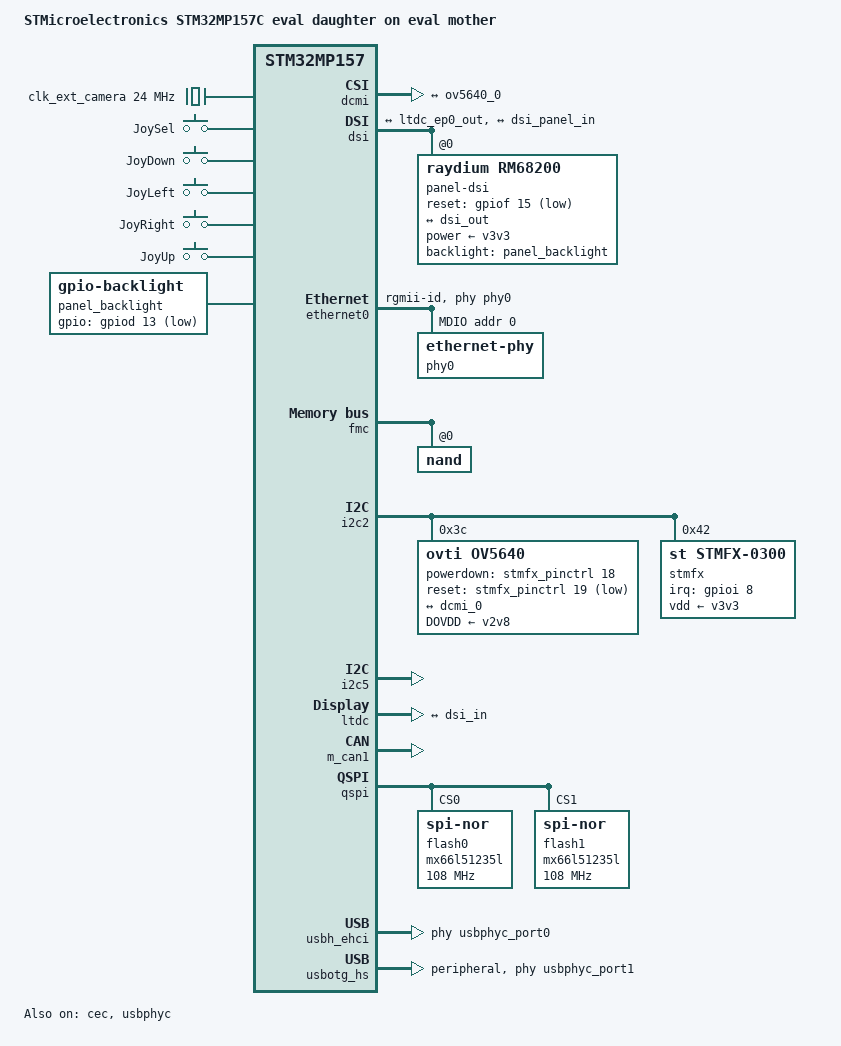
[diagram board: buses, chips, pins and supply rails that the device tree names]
// SPDX-License-Identifier: (GPL-2.0+ OR BSD-3-Clause)
/*
 * Copyright (C) STMicroelectronics 2017 - All Rights Reserved
 * Author: Ludovic Barre <ludovic.barre@st.com> for STMicroelectronics.
 */
/dts-v1/;

#include "stm32mp157c-ed1.dts"
#include <dt-bindings/gpio/gpio.h>
#include <dt-bindings/input/input.h>

/ {
	model = "STMicroelectronics STM32MP157C eval daughter on eval mother";
	compatible = "st,stm32mp157c-ev1", "st,stm32mp157c-ed1", "st,stm32mp157";

	chosen {
		stdout-path = "serial0:115200n8";
	};

	aliases {
		serial0 = &uart4;
		ethernet0 = &ethernet0;
	};

	clocks {
		clk_ext_camera: clk-ext-camera {
			#clock-cells = <0>;
			compatible = "fixed-clock";
			clock-frequency = <24000000>;
		};
	};

	joystick {
		compatible = "gpio-keys";
		pinctrl-0 = <&joystick_pins>;
		pinctrl-names = "default";
		button-0 {
			label = "JoySel";
			linux,code = <KEY_ENTER>;
			interrupt-parent = <&stmfx_pinctrl>;
			interrupts = <0 IRQ_TYPE_EDGE_RISING>;
		};
		button-1 {
			label = "JoyDown";
			linux,code = <KEY_DOWN>;
			interrupt-parent = <&stmfx_pinctrl>;
			interrupts = <1 IRQ_TYPE_EDGE_RISING>;
		};
		button-2 {
			label = "JoyLeft";
			linux,code = <KEY_LEFT>;
			interrupt-parent = <&stmfx_pinctrl>;
			interrupts = <2 IRQ_TYPE_EDGE_RISING>;
		};
		button-3 {
			label = "JoyRight";
			linux,code = <KEY_RIGHT>;
			interrupt-parent = <&stmfx_pinctrl>;
			interrupts = <3 IRQ_TYPE_EDGE_RISING>;
		};
		button-4 {
			label = "JoyUp";
			linux,code = <KEY_UP>;
			interrupt-parent = <&stmfx_pinctrl>;
			interrupts = <4 IRQ_TYPE_EDGE_RISING>;
		};
	};

	panel_backlight: panel-backlight {
		compatible = "gpio-backlight";
		gpios = <&gpiod 13 GPIO_ACTIVE_LOW>;
		default-on;
		status = "okay";
	};
};

&cec {
	pinctrl-names = "default";
	pinctrl-0 = <&cec_pins_a>;
	status = "okay";
};

&dcmi {
	status = "okay";
	pinctrl-names = "default", "sleep";
	pinctrl-0 = <&dcmi_pins_a>;
	pinctrl-1 = <&dcmi_sleep_pins_a>;

	port {
		dcmi_0: endpoint {
			remote-endpoint = <&ov5640_0>;
			bus-width = <8>;
			hsync-active = <0>;
			vsync-active = <0>;
			pclk-sample = <1>;
		};
	};
};

&dsi {
	#address-cells = <1>;
	#size-cells = <0>;
	phy-dsi-supply = <&reg18>;
	status = "okay";

	ports {
		#address-cells = <1>;
		#size-cells = <0>;

		port@0 {
			reg = <0>;
			dsi_in: endpoint {
				remote-endpoint = <&ltdc_ep0_out>;
			};
		};

		port@1 {
			reg = <1>;
			dsi_out: endpoint {
				remote-endpoint = <&dsi_panel_in>;
			};
		};
	};

	panel-dsi@0 {
		compatible = "raydium,rm68200";
		reg = <0>;
		reset-gpios = <&gpiof 15 GPIO_ACTIVE_LOW>;
		backlight = <&panel_backlight>;
		power-supply = <&v3v3>;
		status = "okay";

		port {
			dsi_panel_in: endpoint {
				remote-endpoint = <&dsi_out>;
			};
		};
	};
};

&ethernet0 {
	status = "okay";
	pinctrl-0 = <&ethernet0_rgmii_pins_a>;
	pinctrl-1 = <&ethernet0_rgmii_pins_sleep_a>;
	pinctrl-names = "default", "sleep";
	phy-mode = "rgmii-id";
	max-speed = <1000>;
	phy-handle = <&phy0>;

	mdio0 {
		#address-cells = <1>;
		#size-cells = <0>;
		compatible = "snps,dwmac-mdio";
		phy0: ethernet-phy@0 {
			reg = <0>;
		};
	};
};

&fmc {
	pinctrl-names = "default", "sleep";
	pinctrl-0 = <&fmc_pins_a>;
	pinctrl-1 = <&fmc_sleep_pins_a>;
	status = "okay";
	#address-cells = <1>;
	#size-cells = <0>;

	nand@0 {
		reg = <0>;
		nand-on-flash-bbt;
		#address-cells = <1>;
		#size-cells = <1>;
	};
};

&i2c2 {
	pinctrl-names = "default";
	pinctrl-0 = <&i2c2_pins_a>;
	i2c-scl-rising-time-ns = <185>;
	i2c-scl-falling-time-ns = <20>;
	status = "okay";

	ov5640: camera@3c {
		compatible = "ovti,ov5640";
		reg = <0x3c>;
		clocks = <&clk_ext_camera>;
		clock-names = "xclk";
		DOVDD-supply = <&v2v8>;
		powerdown-gpios = <&stmfx_pinctrl 18 (GPIO_ACTIVE_HIGH | GPIO_PUSH_PULL)>;
		reset-gpios = <&stmfx_pinctrl 19 (GPIO_ACTIVE_LOW | GPIO_PUSH_PULL)>;
		rotation = <180>;
		status = "okay";

		port {
			ov5640_0: endpoint {
				remote-endpoint = <&dcmi_0>;
				bus-width = <8>;
				data-shift = <2>; /* lines 9:2 are used */
				hsync-active = <0>;
				vsync-active = <0>;
				pclk-sample = <1>;
			};
		};
	};

	stmfx: stmfx@42 {
		compatible = "st,stmfx-0300";
		reg = <0x42>;
		interrupts = <8 IRQ_TYPE_EDGE_RISING>;
		interrupt-parent = <&gpioi>;
		vdd-supply = <&v3v3>;

		stmfx_pinctrl: stmfx-pin-controller {
			compatible = "st,stmfx-0300-pinctrl";
			gpio-controller;
			#gpio-cells = <2>;
			interrupt-controller;
			#interrupt-cells = <2>;
			gpio-ranges = <&stmfx_pinctrl 0 0 24>;

			joystick_pins: joystick {
				pins = "gpio0", "gpio1", "gpio2", "gpio3", "gpio4";
				bias-pull-down;
			};
		};
	};
};

&i2c5 {
	pinctrl-names = "default";
	pinctrl-0 = <&i2c5_pins_a>;
	i2c-scl-rising-time-ns = <185>;
	i2c-scl-falling-time-ns = <20>;
	status = "okay";
};

&ltdc {
	status = "okay";

	port {
		#address-cells = <1>;
		#size-cells = <0>;

		ltdc_ep0_out: endpoint@0 {
			reg = <0>;
			remote-endpoint = <&dsi_in>;
		};
	};
};

&m_can1 {
	pinctrl-names = "default", "sleep";
	pinctrl-0 = <&m_can1_pins_a>;
	pinctrl-1 = <&m_can1_sleep_pins_a>;
	status = "okay";
};

&qspi {
	pinctrl-names = "default", "sleep";
	pinctrl-0 = <&qspi_clk_pins_a &qspi_bk1_pins_a &qspi_bk2_pins_a>;
	pinctrl-1 = <&qspi_clk_sleep_pins_a &qspi_bk1_sleep_pins_a &qspi_bk2_sleep_pins_a>;
	reg = <0x58003000 0x1000>, <0x70000000 0x4000000>;
	#address-cells = <1>;
	#size-cells = <0>;
	status = "okay";

	flash0: mx66l51235l@0 {
		compatible = "jedec,spi-nor";
		reg = <0>;
		spi-rx-bus-width = <4>;
		spi-max-frequency = <108000000>;
		#address-cells = <1>;
		#size-cells = <1>;
	};

	flash1: mx66l51235l@1 {
		compatible = "jedec,spi-nor";
		reg = <1>;
		spi-rx-bus-width = <4>;
		spi-max-frequency = <108000000>;
		#address-cells = <1>;
		#size-cells = <1>;
	};
};

&sdmmc3 {
	pinctrl-names = "default", "opendrain", "sleep";
	pinctrl-0 = <&sdmmc3_b4_pins_a>;
	pinctrl-1 = <&sdmmc3_b4_od_pins_a>;
	pinctrl-2 = <&sdmmc3_b4_sleep_pins_a>;
	broken-cd;
	st,neg-edge;
	bus-width = <4>;
	vmmc-supply = <&v3v3>;
	status = "disabled";
};

&spi1 {
	pinctrl-names = "default";
	pinctrl-0 = <&spi1_pins_a>;
	status = "disabled";
};

&timers2 {
	/* spare dmas for other usage (un-delete to enable pwm capture) */
	/delete-property/dmas;
	/delete-property/dma-names;
	status = "disabled";
	pwm {
		pinctrl-0 = <&pwm2_pins_a>;
		pinctrl-1 = <&pwm2_sleep_pins_a>;
		pinctrl-names = "default", "sleep";
		status = "okay";
	};
	timer@1 {
		status = "okay";
	};
};

&timers8 {
	/delete-property/dmas;
	/delete-property/dma-names;
	status = "disabled";
	pwm {
		pinctrl-0 = <&pwm8_pins_a>;
		pinctrl-1 = <&pwm8_sleep_pins_a>;
		pinctrl-names = "default", "sleep";
		status = "okay";
	};
	timer@7 {
		status = "okay";
	};
};

&timers12 {
	/delete-property/dmas;
	/delete-property/dma-names;
	status = "disabled";
	pwm {
		pinctrl-0 = <&pwm12_pins_a>;
		pinctrl-1 = <&pwm12_sleep_pins_a>;
		pinctrl-names = "default", "sleep";
		status = "okay";
	};
	timer@11 {
		status = "okay";
	};
};

&usbh_ehci {
	phys = <&usbphyc_port0>;
	status = "okay";
};

&usbotg_hs {
	dr_mode = "peripheral";
	phys = <&usbphyc_port1 0>;
	phy-names = "usb2-phy";
	status = "okay";
};

&usbphyc {
	status = "okay";
};
